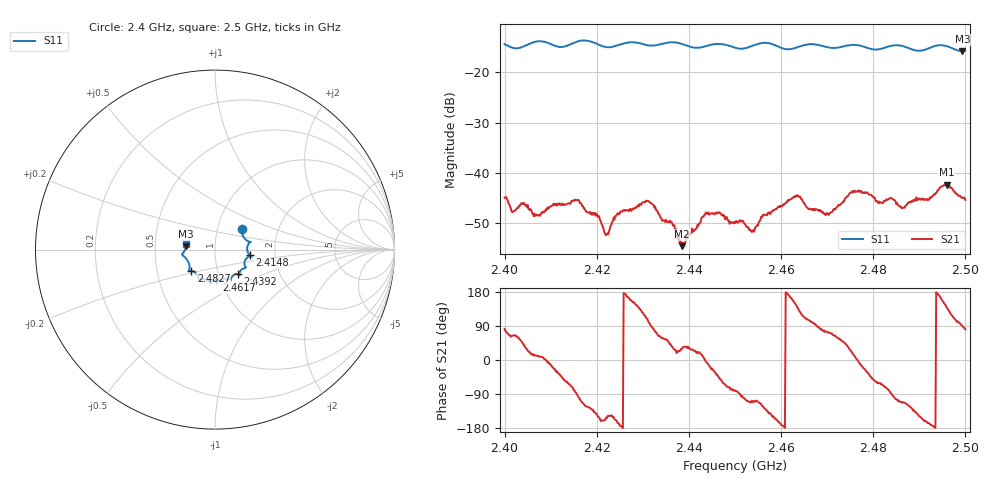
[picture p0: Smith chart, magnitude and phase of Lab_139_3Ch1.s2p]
# Hz S RI R 50
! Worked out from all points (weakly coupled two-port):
!   601 points, 2.4 GHz to 2.5 GHz, reference 50 ohm
!   highest |S21| = -42.34 dB at 2.496 GHz (marker M1); lowest = -54.5 dB at 2.4385 GHz (marker M2)
!   lowest |S11| = -15.8 dB at 2.4993 GHz (marker M3), VSWR 1.39, Z = 36.1 + j1.46 ohm
!   |S11| at or under -10 dB: start of sweep to end of sweep
!   S12 and S22 are empty: the file has one direction only
!   S11 on the Smith chart (normalised r, x): 2.4 GHz: 1.31, +0.32; 2.4148 GHz: 1.47, -0.09; 2.4392 GHz: 1.24, -0.35; 2.4617 GHz: 0.96, -0.33; 2.4827 GHz: 0.75, -0.18; 2.5 GHz: 0.72, +0.05
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2.4e9  0.1512 0.1162  0.000768 0.00563  0 0  0 0
2.407167e9  0.1992 0.0433  0.00372 0.000678  0 0  0 0
2.414833e9  0.1925 -0.031  0.00142 -0.00516  0 0  0 0
2.416667e9  0.2035 -0.0394  -0.00171 -0.00462  0 0  0 0
2.422167e9  0.1683 -0.0586  -0.00221 -0.00111  0 0  0 0
2.430333e9  0.1569 -0.1065  -0.00249 0.00452  0 0  0 0
2.433333e9  0.1364 -0.13  0.0017 0.00356  0 0  0 0
2.4385e9  0.1331 -0.138  0.00163 0.000931  0 0  0 0
2.439167e9  0.1286 -0.1359  0.00167 0.00116  0 0  0 0
2.443833e9  0.09 -0.16  0.00395 -0.000426  0 0  0 0
2.45e9  0.0707 -0.1615  0.000522 -0.00312  0 0  0 0
2.453833e9  0.0395 -0.1801  -0.000987 -0.0025  0 0  0 0
2.461667e9  0.0081 -0.1696  -0.00524 0.000859  0 0  0 0
2.466667e9  -0.0262 -0.1892  -0.000757 0.00423  0 0  0 0
2.470667e9  -0.0438 -0.1703  0.0013 0.00381  0 0  0 0
2.476333e9  -0.0891 -0.1648  0.00649 0.000358  0 0  0 0
2.482667e9  -0.1324 -0.1178  0.0017 -0.00499  0 0  0 0
2.483333e9  -0.1382 -0.117  0.00104 -0.0054  0 0  0 0
2.4865e9  -0.1442 -0.1113  -0.00173 -0.00418  0 0  0 0
2.496e9  -0.1808 -0.0221  -0.0057 0.00509  0 0  0 0
2.499333e9  -0.1616 0.0197  -1.09e-06 0.00568  0 0  0 0
2.5e9  -0.1611 0.0316  0.000839 0.00535  0 0  0 0
